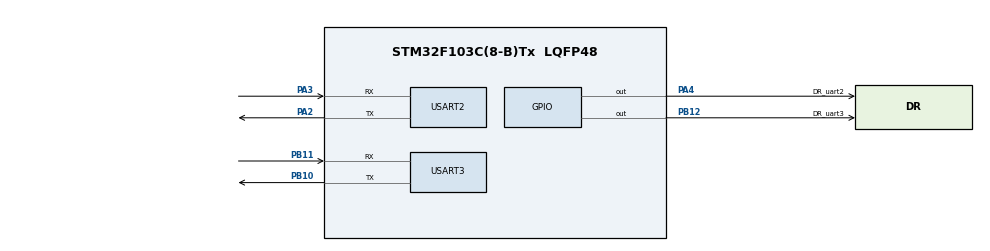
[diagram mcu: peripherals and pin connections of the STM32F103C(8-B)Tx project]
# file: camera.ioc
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Mcu.Family=STM32F1
Mcu.Name=STM32F103C(8-B)Tx
Mcu.Package=LQFP48
NVIC.PriorityGroup=NVIC_PRIORITYGROUP_4
NVIC.TIM3_IRQn=true\:0\:0\:false\:false\:true\:true\:true
NVIC.USART2_IRQn=true\:0\:0\:false\:false\:true\:true\:true
NVIC.USART3_IRQn=true\:0\:0\:false\:false\:true\:true\:true
PA13.Mode=Serial_Wire
PA13.Signal=SYS_JTMS-SWDIO
PA14.Mode=Serial_Wire
PA14.Signal=SYS_JTCK-SWCLK
PA2.Mode=Asynchronous
PA2.Signal=USART2_TX
PA3.Mode=Asynchronous
PA3.Signal=USART2_RX
PA4.GPIO_Label=DR_uart2
PA4.Signal=GPIO_Output
PB10.Mode=Asynchronous
PB10.Signal=USART3_TX
PB11.Mode=Asynchronous
PB11.Signal=USART3_RX
PB12.GPIO_Label=DR_uart3
PB12.Signal=GPIO_Output
PD0-OSC_IN.Mode=HSE-External-Oscillator
PD0-OSC_IN.Signal=RCC_OSC_IN
PD1-OSC_OUT.Mode=HSE-External-Oscillator
PD1-OSC_OUT.Signal=RCC_OSC_OUT
ProjectManager.HeapSize=0x200
ProjectManager.StackSize=0x400
ProjectManager.TargetToolchain=MDK-ARM V5.32
RCC.APB1Freq_Value=8000000
RCC.APB2Freq_Value=8000000
RCC.PLLSourceVirtual=RCC_PLLSOURCE_HSE
RCC.USBFreq_Value=16000000
USART2.Parity=PARITY_EVEN
USART2.VirtualMode=VM_ASYNC
USART2.WordLength=WORDLENGTH_9B
USART3.Parity=PARITY_EVEN
USART3.VirtualMode=VM_ASYNC
USART3.WordLength=WORDLENGTH_9B
VP_TIM3_VS_ClockSourceITR.Mode=TriggerSource_ITR0
VP_TIM3_VS_ControllerModeClock.Mode=Clock Mode
board=custom

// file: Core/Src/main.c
/* USER CODE BEGIN Header */
/**
  ******************************************************************************
  * @file           : main.c
  * @brief          : Main program body
  ******************************************************************************
  * @attention
  *
  * <h2><center>&copy; Copyright (c) 2022 STMicroelectronics.
  * All rights reserved.</center></h2>
  *
  * This software component is licensed by ST under BSD 3-Clause license,
  * the "License"; You may not use this file except in compliance with the
  * License. You may obtain a copy of the License at:
  *                        opensource.org/licenses/BSD-3-Clause
  *
  ******************************************************************************
  */
/* USER CODE END Header */
#include "main.h"

/* USER CODE BEGIN Includes */
#include "mb.h"
#include "mbport.h"
#include "user_mb_app.h"

#include "string.h"
#include "stdlib.h"
#include "stdio.h"
/* USER CODE END Includes */

/* USER CODE BEGIN PTD */
uint8_t check_messenger(uint8_t *mes,uint8_t len);int32_t Tag_ID;
int32_t x_coor;
/* USER CODE END PTD */

TIM_HandleTypeDef htim3;

UART_HandleTypeDef huart2;
UART_HandleTypeDef huart3;

void SystemClock_Config(void);
static void MX_GPIO_Init(void);
static void MX_USART2_UART_Init(void);
static void MX_USART3_UART_Init(void);
static void MX_TIM3_Init(void);

/* USER CODE BEGIN 0 */

uint8_t messages_camera[21];

extern uint16_t   usSRegInBuf[];

/* USER CODE END 0 */

int main(void)
 {

  /* MCU Configuration--------------------------------------------------------*/

  /* Reset of all peripherals, Initializes the Flash interface and the Systick. */
  HAL_Init();

  /* Configure the system clock */
  SystemClock_Config();

  /* Initialize all configured peripherals */
  MX_GPIO_Init();
  MX_USART2_UART_Init();
  MX_USART3_UART_Init();
  MX_TIM3_Init();
  /* USER CODE BEGIN 2 */
	HAL_GPIO_WritePin(DR_uart2_GPIO_Port,DR_uart2_Pin,GPIO_PIN_RESET);
	HAL_GPIO_WritePin(DR_uart3_GPIO_Port,DR_uart3_Pin,GPIO_PIN_RESET);

	eMBErrorCode eStatus = eMBInit( MB_RTU, 2, 3, 115200, MB_PAR_EVEN );
  eStatus = eMBEnable();
  /* USER CODE END 2 */
	uint32_t time_stamp = HAL_GetTick();
	uint8_t camera_tran[2] = {0xc8,0x37};
	//HAL_UART_Receive_IT(&huart3,&dat_camera,1);
  /* Infinite loop */
  /* USER CODE BEGIN WHILE */
  while (1)
  {

		/************************************ CONVERT DATA MATRIX TAG RTU *********

		dete_code = Input_Register[0]
		Tag ID = Input_Register[2][3][4][5] /256
		Angle  = Input_Register[6] / 40
		Y_Coor = Input_Register[7] /40
		X_Coor = Input_Register[8][9] /2560

		*/
    /* USER CODE END WHILE */
	eMBPoll();
	//process_message_master_camera();
	while((HAL_GetTick() - time_stamp)>(uint32_t)50)
		{
			HAL_GPIO_WritePin(DR_uart3_GPIO_Port,DR_uart3_Pin,GPIO_PIN_SET);
			HAL_UART_Transmit(&huart3,camera_tran,2,0xff);
			HAL_GPIO_WritePin(DR_uart3_GPIO_Port,DR_uart3_Pin,GPIO_PIN_RESET);
			HAL_UART_Receive_IT(&huart3,messages_camera,21);

			if((messages_camera[0] == 0x00) && (check_messenger(messages_camera,20) == messages_camera[20]))
			{

				usSRegInBuf[0] = 1;
				usSRegInBuf[1] = messages_camera[1]&0x40;

				//ID
				uint64_t Tag_ID = (((uint64_t)messages_camera[8]&0x7F)<<57)|    //TAG_49 _> TAG 55
													(((uint64_t)messages_camera[9]&0x7F)<<50)|		//TAG_42 _> TAG 48
													(((uint64_t)messages_camera[12]&0x7F)<<43)|		//TAG_35 _> TAG 41
													(((uint64_t)messages_camera[13]&0x7F)<<36)|		//TAG_28 _> TAG 34
													(((uint64_t)messages_camera[14]&0x7F)<<29)|		//TAG_21 _> TAG 27
													(((uint64_t)messages_camera[15]&0x7F)<<22)|		//TAG_14 _> TAG 20
													(((uint64_t)messages_camera[16]&0x7F)<<15)|		//TAG_7 _> TAG 13
													(((uint64_t)messages_camera[17]&0x7F)<<8);					//TAG_0 _> TAG 6

				usSRegInBuf[2] = (Tag_ID&0xffff000000000000)>>48;							// id high
				usSRegInBuf[3] = (Tag_ID&0x0000ffff00000000)>32; 					// id low
				usSRegInBuf[4] = (Tag_ID&0x00000000ffff0000)>>16;							// id high
				usSRegInBuf[5] = (Tag_ID&0x000000000000ffff);

				//angle
				usSRegInBuf[6] =	(((uint16_t)messages_camera[10]&0x7f)<<9)|
													(((uint16_t)messages_camera[11]&0x7f)<<2);	// angle

				//Y
				uint16_t y_coor = (((int16_t)messages_camera[6]&0x7F)<<9)|
													(((int16_t)messages_camera[7]&0x7F)<<2);		// Y

				usSRegInBuf[7] = y_coor;
				//X
				int32_t x_coor =	((int32_t)((messages_camera[2]&0x7F)<<29)|
									((int32_t)(messages_camera[3]&0x7F)<<22)|
									((int32_t)(messages_camera[4]&0x7f)<<15)|
									((int32_t)messages_camera[5]&0x7f)<<8); //X

				usSRegInBuf[8] = (x_coor&0xffff0000)>>16; // X high
				usSRegInBuf[9] = (x_coor&0x0000ffff); // X low
			}
			else if(messages_camera[0] == 0x02)
			{
				usSRegInBuf[0] = 0;
			}
			memset(messages_camera,NULL,21);
			time_stamp = HAL_GetTick();
		}

  }
}

void SystemClock_Config(void)
{
  RCC_OscInitTypeDef RCC_OscInitStruct = {0};
  RCC_ClkInitTypeDef RCC_ClkInitStruct = {0};

  /** Initializes the RCC Oscillators according to the specified parameters
  * in the RCC_OscInitTypeDef structure.
  */
  RCC_OscInitStruct.OscillatorType = RCC_OSCILLATORTYPE_HSI;
  RCC_OscInitStruct.HSIState = RCC_HSI_ON;
  RCC_OscInitStruct.HSICalibrationValue = RCC_HSICALIBRATION_DEFAULT;
  RCC_OscInitStruct.PLL.PLLState = RCC_PLL_NONE;
  if (HAL_RCC_OscConfig(&RCC_OscInitStruct) != HAL_OK)
  {
    Error_Handler();
  }
  /** Initializes the CPU, AHB and APB buses clocks
  */
  RCC_ClkInitStruct.ClockType = RCC_CLOCKTYPE_HCLK|RCC_CLOCKTYPE_SYSCLK
                              |RCC_CLOCKTYPE_PCLK1|RCC_CLOCKTYPE_PCLK2;
  RCC_ClkInitStruct.SYSCLKSource = RCC_SYSCLKSOURCE_HSI;
  RCC_ClkInitStruct.AHBCLKDivider = RCC_SYSCLK_DIV1;
  RCC_ClkInitStruct.APB1CLKDivider = RCC_HCLK_DIV1;
  RCC_ClkInitStruct.APB2CLKDivider = RCC_HCLK_DIV1;

  if (HAL_RCC_ClockConfig(&RCC_ClkInitStruct, FLASH_LATENCY_0) != HAL_OK)
  {
    Error_Handler();
  }
}

static void MX_TIM3_Init(void)
{

	TIM_MasterConfigTypeDef sMasterConfig;
	uint32_t uwPrescalerValue = 0;

  htim3.Instance = TIM3;
  htim3.Init.Period = 0;
  htim3.Init.Prescaler = 0;
  htim3.Init.CounterMode = TIM_COUNTERMODE_UP;
  if (HAL_TIM_Base_Init(&htim3) != HAL_OK)
  {
    while(1);
  }

  sMasterConfig.MasterOutputTrigger = TIM_TRGO_UPDATE;
  sMasterConfig.MasterSlaveMode = TIM_MASTERSLAVEMODE_DISABLE;
  if (HAL_TIMEx_MasterConfigSynchronization(&htim3, &sMasterConfig) != HAL_OK)
  {
    while(1);
  }

//  if(HAL_TIM_Base_Start_IT(&htim3) != HAL_OK)
//  {
//    /* Starting Error */
//    while(1);
//  }
}

static void MX_USART2_UART_Init(void)
{

  huart2.Instance = USART2;
  huart2.Init.BaudRate = 115200;
  huart2.Init.WordLength = UART_WORDLENGTH_9B;
  huart2.Init.StopBits = UART_STOPBITS_1;
  huart2.Init.Parity = UART_PARITY_EVEN;
  huart2.Init.Mode = UART_MODE_TX_RX;
  huart2.Init.HwFlowCtl = UART_HWCONTROL_NONE;
  huart2.Init.OverSampling = UART_OVERSAMPLING_16;
  if (HAL_UART_Init(&huart2) != HAL_OK)
  {
    Error_Handler();
  }
  /* USER CODE BEGIN USART2_Init 2 */
	__HAL_UART_ENABLE_IT(&huart2, UART_IT_RXNE);
  /* USER CODE END USART2_Init 2 */

}

static void MX_USART3_UART_Init(void)
{

  huart3.Instance = USART3;
  huart3.Init.BaudRate = 115200;
  huart3.Init.WordLength = UART_WORDLENGTH_9B;
  huart3.Init.StopBits = UART_STOPBITS_1;
  huart3.Init.Parity = UART_PARITY_EVEN;
  huart3.Init.Mode = UART_MODE_TX_RX;
  huart3.Init.HwFlowCtl = UART_HWCONTROL_NONE;
  huart3.Init.OverSampling = UART_OVERSAMPLING_16;
  if (HAL_UART_Init(&huart3) != HAL_OK)
  {
    Error_Handler();
  }

}

static void MX_GPIO_Init(void)
{
  GPIO_InitTypeDef GPIO_InitStruct = {0};

  /* GPIO Ports Clock Enable */
  __HAL_RCC_GPIOD_CLK_ENABLE();
  __HAL_RCC_GPIOA_CLK_ENABLE();
  __HAL_RCC_GPIOB_CLK_ENABLE();

  /*Configure GPIO pin Output Level */
  HAL_GPIO_WritePin(DR_uart2_GPIO_Port, DR_uart2_Pin, GPIO_PIN_RESET);

  /*Configure GPIO pin Output Level */
  HAL_GPIO_WritePin(DR_uart3_GPIO_Port, DR_uart3_Pin, GPIO_PIN_RESET);

  /*Configure GPIO pin : DR_uart2_Pin */
  GPIO_InitStruct.Pin = DR_uart2_Pin;
  GPIO_InitStruct.Mode = GPIO_MODE_OUTPUT_PP;
  GPIO_InitStruct.Pull = GPIO_NOPULL;
  GPIO_InitStruct.Speed = GPIO_SPEED_FREQ_LOW;
  HAL_GPIO_Init(DR_uart2_GPIO_Port, &GPIO_InitStruct);

  /*Configure GPIO pin : DR_uart3_Pin */
  GPIO_InitStruct.Pin = DR_uart3_Pin;
  GPIO_InitStruct.Mode = GPIO_MODE_OUTPUT_PP;
  GPIO_InitStruct.Pull = GPIO_NOPULL;
  GPIO_InitStruct.Speed = GPIO_SPEED_FREQ_LOW;
  HAL_GPIO_Init(DR_uart3_GPIO_Port, &GPIO_InitStruct);

}

/* USER CODE BEGIN 4 */
uint8_t check_messenger(uint8_t *mes,uint8_t len)
{
	uint8_t check_sum =0x00;
	for(int i =0; i<len; i++)
	{
		check_sum ^= mes[i];
	}
	return check_sum;
}

/* USER CODE END 4 */

void Error_Handler(void)
{
  __disable_irq();
  while (1)
  {
  }
}

/************************ (C) COPYRIGHT STMicroelectronics *****END OF FILE****/
